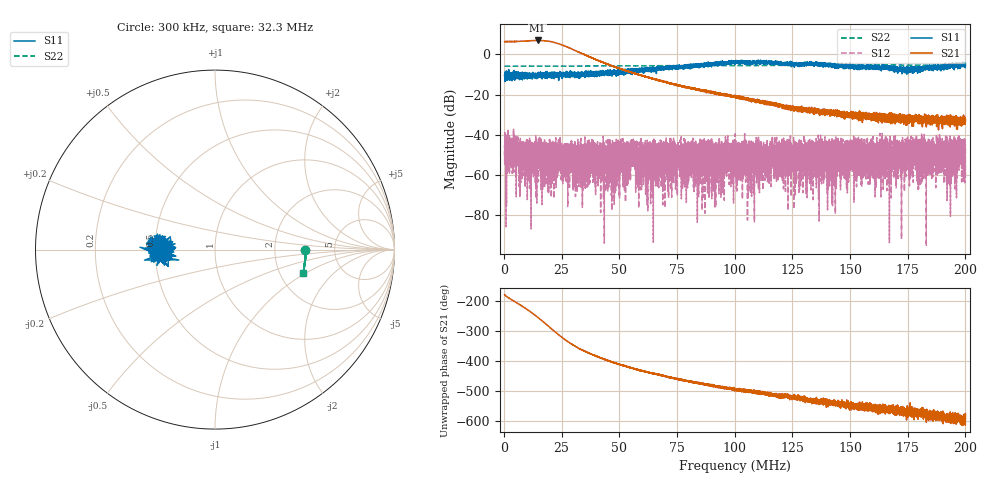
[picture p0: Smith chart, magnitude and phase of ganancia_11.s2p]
# Hz S DB R 50
! CMT, M5065, 19127446, 24.2.4/2
! Date: 10/29/2024 12:01:37 PM
! Data: Format (Calibration Info)
! Freq	S11:dB/Ang(F2)	S21:dB/Ang(F2)	S12:dB/Ang(F2)	S22:dB/Ang(F2)
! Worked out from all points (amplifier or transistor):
!   9000 points, 300 kHz to 200 MHz, reference 50 ohm
!   highest |S21| = 6.9 dB at 14.61 MHz (marker M1)
!   |S21| within 3 dB of that: start of sweep to 26.88 MHz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
!   unconditionally stable (mu >= 1): start of sweep to end of sweep
!   at 33.59 MHz: K = 179.19, MAG = 2.3 dB, |S12| = -55.2 dB
!   at 100.2 MHz: K = 204.99, MAG = -16.5 dB, |S12| = -39.6 dB
!   at 200 MHz: K = 2042.64, MAG = -30.2 dB, |S12| = -44.8 dB
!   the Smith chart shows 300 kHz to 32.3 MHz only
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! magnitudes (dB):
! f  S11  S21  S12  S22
! 300 kHz  -10.6  6.3  -50.5  -6.0
! 4.183 MHz  -9.6  6.3  -43.0  -6.0
! 11.08 MHz  -10.5  6.7  -47.3  -5.9
! 14.61 MHz  -10.7  6.9  -50.0  -5.9
! 33.59 MHz  -9.4  0.5  -55.2  -5.9
! 47.01 MHz  -8.1  -5.8  -51.3  -5.8
! 50.54 MHz  -8.5  -7.2  -46.3  -5.8
! 52.56 MHz  -8.3  -8.0  -54.1  -5.7
! 55.98 MHz  -7.6  -9.2  -48.4  -5.7
! 57.98 MHz  -9.7  -9.9  -49.8  -5.7
! 66.87 MHz  -6.3  -13.2  -49.9  -5.7
! 100.2 MHz  -3.7  -20.3  -39.6  -5.6
! 133.4 MHz  -5.5  -27.9  -59.2  -5.3
! 150.6 MHz  -6.2  -30.6  -48.4  -5.3
! 160.4 MHz  -6.2  -30.1  -55.1  -5.3
! 164.9 MHz  -5.8  -31.8  -49.1  -5.3
! 166.7 MHz  -6.8  -32.0  -47.5  -5.3
! 174.4 MHz  -7.9  -32.3  -54.5  -5.3
! 185.2 MHz  -7.1  -31.8  -50.9  -5.4
! 189.6 MHz  -7.3  -30.6  -46.6  -5.5
! 195.2 MHz  -5.3  -35.1  -46.3  -5.5
! 200 MHz  -5.9  -32.9  -44.8  -5.5
